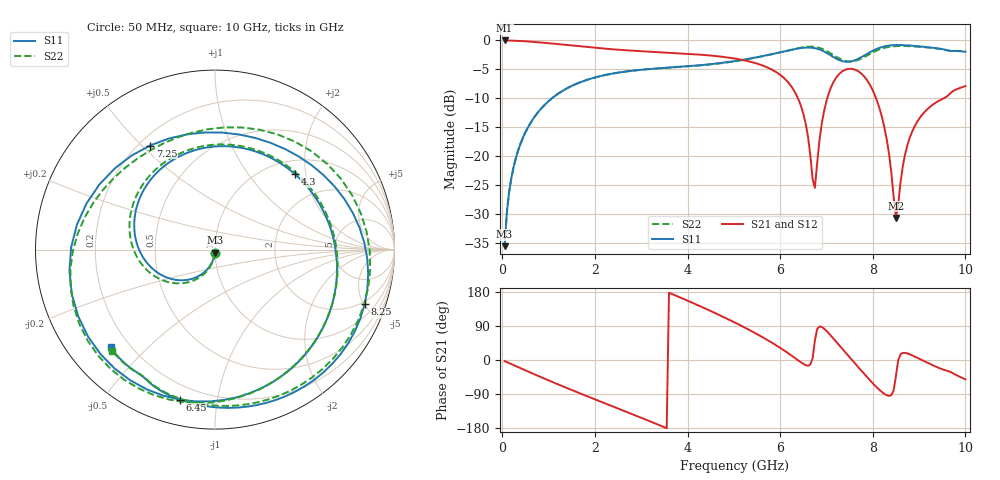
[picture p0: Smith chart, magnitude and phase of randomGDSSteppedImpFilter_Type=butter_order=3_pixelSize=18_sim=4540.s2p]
! freq	dB(S11)	phase(S11)	dB(S12)	phase(S12)
!  dB(S21)	phase(S21)	dB(S22)	phase(S22)
!S-par simulation data
#  GHz  S  DB  R 50
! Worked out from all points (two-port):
!   200 points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, 50 MHz to 10 GHz, reference 50 ohm
!   highest |S21| = 0.00 dB at 50 MHz (marker M1); lowest = -30.7 dB at 8.5 GHz (marker M2)
!   |S21| within 3 dB of the highest: start of sweep to 4.919 GHz
!   lowest |S11| = -35.6 dB at 50 MHz (marker M3), VSWR 1.03, Z = 49.9 - j1.66 ohm
!   |S11| at or under -10 dB: start of sweep to 1.073 GHz
!   |S22| runs from -35.6 to -1.0 dB; largest |S21 - S12| = 0
!   S11 on the Smith chart (normalised r, x): 50 MHz: 1.00, -0.03; 4.3 GHz: 1.28, +1.73; 6.45 GHz: 0.12, -0.78; 7.25 GHz: 0.24, +0.53; 8.25 GHz: 1.77, -5.07; 10 GHz: 0.13, -0.39
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0.05  -35.56 -92.8  -0.00 -2.8  -0.00 -2.8  -35.57 -92.5
0.2  -23.59 -101.9  -0.04 -11.0  -0.04 -11.0  -23.58 -100.7
0.5  -15.88 -119.3  -0.15 -27.3  -0.15 -27.3  -15.87 -116.3
1.75  -7.03 172.7  -1.08 -91.6  -1.08 -91.6  -7.03 -177.3
2.65  -5.39 126.9  -1.69 -135.3  -1.69 -135.3  -5.39 141.1
3.4  -4.80 89.2  -2.04 -172.3  -2.04 -172.3  -4.82 104.9
4.3  -4.26 43.5  -2.48 140.4  -2.48 140.4  -4.30 56.5
5.05  -3.53 3.5  -3.17 97.1  -3.17 97.1  -3.58 10.3
5.85  -2.31 -47.2  -5.17 43.6  -5.17 43.6  -2.34 -46.8
6.45  -1.32 -103.3  -11.35 -6.2  -11.35 -6.2  -1.24 -101.5
6.7  -1.27 -137.7  -23.94 4.2  -23.94 4.2  -1.08 -131.2
6.75  -1.34 -145.7  -25.49 51.5  -25.49 51.5  -1.12 -137.7
6.95  -1.92 179.1  -12.14 82.7  -12.14 82.7  -1.60 -165.5
7.25  -3.31 121.9  -6.01 42.2  -6.01 42.2  -3.00 152.0
7.5  -3.67 78.1  -4.90 6.9  -4.90 6.9  -3.64 116.4
7.8  -2.69 34.3  -6.10 -34.6  -6.10 -34.6  -2.95 69.7
8.25  -1.04 -20.0  -15.01 -89.3  -15.01 -89.3  -1.29 -0.5
8.35  -0.89 -30.3  -19.55 -94.6  -19.55 -94.6  -1.11 -14.0
8.5  -0.80 -44.3  -30.67 -42.7  -30.67 -42.7  -0.98 -32.2
8.7  -0.83 -60.7  -19.61 18.8  -19.61 18.8  -0.97 -52.9
8.9  -0.94 -75.0  -14.91 9.4  -14.91 9.4  -1.05 -70.3
10  -1.96 -136.9  -7.89 -51.0  -7.89 -51.0  -1.90 -135.6
